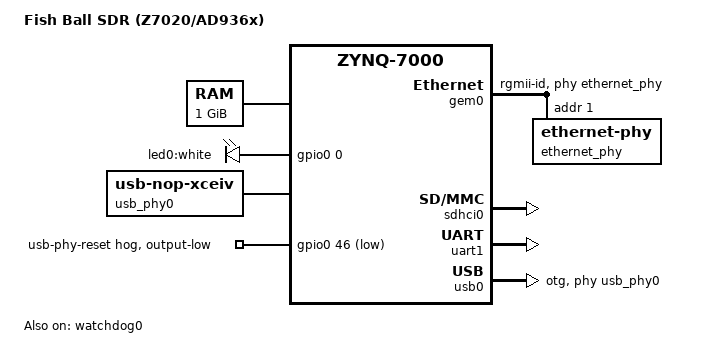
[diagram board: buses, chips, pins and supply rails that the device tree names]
// SPDX-License-Identifier: GPL-2.0
/*
 * Fish Ball SDR (7020_AD936X_SDR): XC7Z020-2CLG400, 1 GiB DDR3L, an AD936x
 * transceiver in the PL, RTL8211E Ethernet, USB3320C OTG, microSD. Close to
 * an ADALM-Pluto.
 *
 * PS peripherals only. One file for both U-Boot (copied to arch/arm/dts) and
 * Linux (copied to arch/arm/boot/dts/xilinx, where
 * zynq-fishball-sdr-ad936x.dts adds the PL design and the AD936x); each tree
 * ships its own zynq-7000.dtsi. DDR, clocks and the MIO muxing are set up by
 * ps7_init in U-Boot SPL, hence no pinctrl nodes. MIO assignment (vendor
 * design system_top.xsa, schematic 7020_936x_SDR.pdf):
 *   0 LED, 1..6 QSPI, 8..9 UART1, 16..27 GEM0 RGMII, 28..39 USB0 ULPI,
 *   40..45 SD0 (microSD), 46 USB PHY reset, 52..53 GEM0 MDIO.
 */
/dts-v1/;
#include "zynq-7000.dtsi"
#include <dt-bindings/gpio/gpio.h>

/ {
	model = "Fish Ball SDR (Z7020/AD936x)";
	compatible = "fishball,sdr-7020", "xlnx,zynq-7000";

	aliases {
		ethernet0 = &gem0;
		mmc0 = &sdhci0;
		serial0 = &uart1;
	};

	memory@0 {
		device_type = "memory";
		reg = <0x0 0x40000000>;
	};

	chosen {
		stdout-path = "serial0:115200n8";
	};

	/* The white LED on MIO0 (the schematic's White1). */
	leds {
		compatible = "gpio-leds";

		led-0 {
			label = "led0:white";
			gpios = <&gpio0 0 GPIO_ACTIVE_HIGH>;
			linux,default-trigger = "heartbeat";
		};
	};

	/* USB3320C ULPI transceiver; its reset is the MIO46 hog below. */
	usb_phy0: phy0 {
		compatible = "usb-nop-xceiv";
		#phy-cells = <0>;
	};
};

&clkc {
	ps-clk-frequency = <33333333>;
};

/*
 * USB3320C reset (OTG_RST, MIO46, active low) released as soon as the GPIO
 * controller probes, for the same reason as on ax7015b: as reset-gpios of the
 * usb-nop-xceiv it is only released right before ChipIdea's own reset, while
 * the ULPI clock is not running yet.
 */
&gpio0 {
	usb-phy-reset-hog {
		gpio-hog;
		gpios = <46 GPIO_ACTIVE_LOW>;
		output-low;
		line-name = "usb-phy-reset";
	};
};

/*
 * RTL8211E. Its PHYAD straps give MDIO address 1, and it also answers on the
 * broadcast address 0 (which the vendor device trees use). The RGMII delays
 * are strapped in the PHY. Its reset is tied to PS_POR_B: no reset GPIO.
 */
&gem0 {
	status = "okay";
	phy-mode = "rgmii-id";
	phy-handle = <&ethernet_phy>;

	ethernet_phy: ethernet-phy@1 {
		reg = <1>;
	};
};

/*
 * microSD: boot device, eicke A/B disk. SD0 runs at 1.8 V behind a TXS02612
 * level shifter to the 3.3 V card, so no UHS signalling; card detect and
 * write protect are not wired.
 */
&sdhci0 {
	bootph-all;
	status = "okay";
	no-1-8-v;
	broken-cd;
	disable-wp;
};

/* Console: channel B of the FT2232HL on the "JTAG" USB-C port. */
&uart1 {
	bootph-all;
	status = "okay";
};

/*
 * OTG port (USB-C). The USB3320C's CPEN switches 5 V out to the port in host
 * mode. As a device it carries the Pluto-style gadget (fishball-sdr-gadget).
 */
&usb0 {
	status = "okay";
	dr_mode = "otg";
	usb-phy = <&usb_phy0>;
};

/*
 * System watchdog, started by U-Boot and fed by systemd (eicke-watchdog). A
 * timeout resets the whole PS, so the boot ROM starts over and U-Boot rolls
 * back a hung trial boot.
 */
&watchdog0 {
	status = "okay";
	reset-on-timeout;
};
